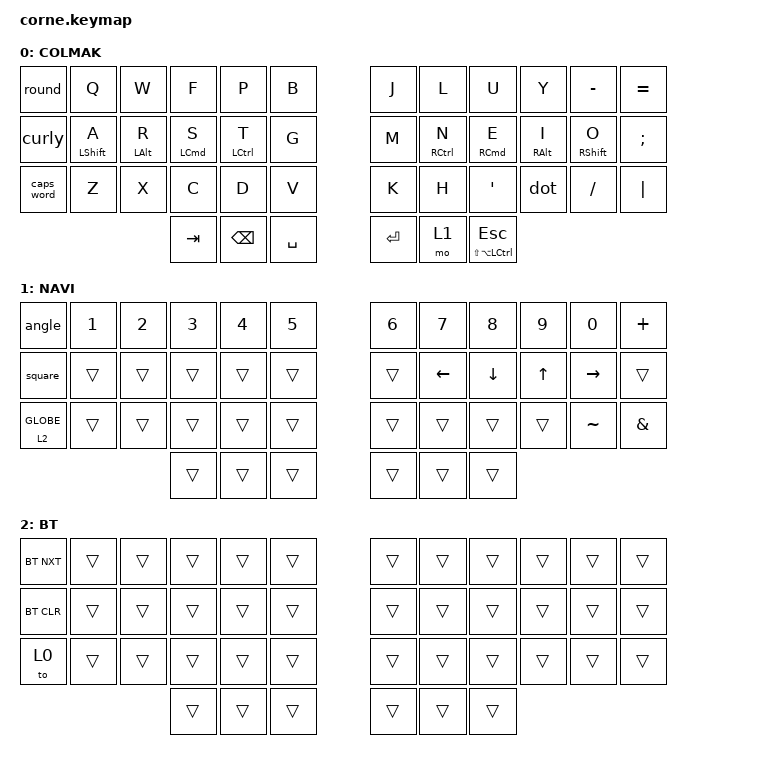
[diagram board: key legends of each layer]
/*
 * Copyright (c) 2020 The ZMK Contributors
 *
 * SPDX-License-Identifier: MIT
 */

#include <behaviors.dtsi>
#include <dt-bindings/zmk/bt.h>
#include <dt-bindings/zmk/keys.h>

/ {
    behaviors {
        hrm: hrm {
            compatible = "zmk,behavior-hold-tap";
            bindings = <&kp>, <&kp>;

            #binding-cells = <2>;
            tapping-term-ms = <280>;
            quick-tap-ms = <175>;
            require-prior-idle-ms = <150>;
            flavor = "balanced";
            hold-trigger-on-release;
        };

        motd: motd {
            compatible = "zmk,behavior-tap-dance";
            #binding-cells = <0>;
            bindings = <&mo 1>, <&mo 0>;

            tapping-term-ms = <350>;
        };

        moto: moto {
            compatible = "zmk,behavior-hold-tap";
            bindings = <&mo>, <&to>;

            #binding-cells = <2>;
            tapping-term-ms = <200>;
        };

        hold3s: hold3s {
            compatible = "zmk,behavior-hold-tap";
            bindings = <&tog>, <&kp>;

            #binding-cells = <2>;
            tapping-term-ms = <3000>;
        };

        dot: dot {
            compatible = "zmk,behavior-mod-morph";
            label = "DOT";
            bindings = <&kp COMMA>, <&kp DOT>;

            #binding-cells = <0>;
            mods = <(MOD_LSFT)>;
        };
    };

    combos {
        compatible = "zmk,combos";

        CAPS_WORD {
            bindings = <&caps_word>;
            key-positions = <13 22>;
            layers = <0>;
        };
    };

    macros {
        curly: curly {
            compatible = "zmk,behavior-macro";
            #binding-cells = <0>;
            bindings = <&kp LEFT_BRACE &kp RIGHT_BRACE &kp LEFT>, <&macro_tap>;

        };

        round: round {
            compatible = "zmk,behavior-macro";
            #binding-cells = <0>;
            bindings =
                <&kp LEFT_PARENTHESIS &kp RIGHT_PARENTHESIS &kp LEFT>,
                <&macro_tap>;

        };

        square: square {
            compatible = "zmk,behavior-macro";
            #binding-cells = <0>;
            bindings =
                <&kp LEFT_BRACKET &kp RIGHT_BRACKET &kp LEFT>,
                <&macro_tap>;

        };

        angle: angle {
            compatible = "zmk,behavior-macro";
            #binding-cells = <0>;
            bindings = <&kp LESS_THAN &kp GREATER_THAN &kp LEFT>, <&macro_tap>;

        };
    };

    keymap {
        compatible = "zmk,keymap";

        COLMAK {
            display-name = "COLMAK";
            bindings = <
                &round     &kp Q         &kp W        &kp F        &kp P          &kp B        &kp J     &kp L         &kp U        &kp Y          &kp MINUS     &kp EQUAL
                &curly     &hrm LSHFT A  &hrm LALT R  &hrm LCMD S  &hrm LCTRL T   &kp G        &kp M     &hrm RCTRL N  &hrm RCMD E  &hrm RALT I    &hrm RSHFT O  &kp SEMI
                &caps_word &kp Z         &kp X        &kp C        &kp D          &kp V        &kp K     &kp H         &kp SQT      &dot           &kp FSLH      &kp PIPE
                                                      &kp TAB      &kp BACKSPACE  &kp SPACE    &kp RET   &mo 1         &mt LS(LA(LCTRL)) ESC
            >;
        };

        NAVI {
            display-name = "NAVI";
            bindings = <
                &angle           &kp N1  &kp N2  &kp N3  &kp N4  &kp N5    &kp N6  &kp N7    &kp N8    &kp N9    &kp N0     &kp PLUS
                &square          &trans  &trans  &trans  &trans  &trans    &trans  &kp LEFT  &kp DOWN  &kp UP    &kp RIGHT  &trans
                &hold3s 2 GLOBE  &trans  &trans  &trans  &trans  &trans    &trans  &trans    &trans    &trans    &kp TILDE  &kp AMPERSAND
                                                 &trans  &trans  &trans    &trans  &trans    &trans
            >;
        };

        CONF {
            display-name = "BT";
            bindings = <
                &bt BT_NXT  &trans  &trans  &trans  &trans  &trans    &trans  &trans  &trans  &trans  &trans  &trans
                &bt BT_CLR  &trans  &trans  &trans  &trans  &trans    &trans  &trans  &trans  &trans  &trans  &trans
                &to 0       &trans  &trans  &trans  &trans  &trans    &trans  &trans  &trans  &trans  &trans  &trans
                                            &trans  &trans  &trans    &trans  &trans  &trans
            >;
        };
    };
};
